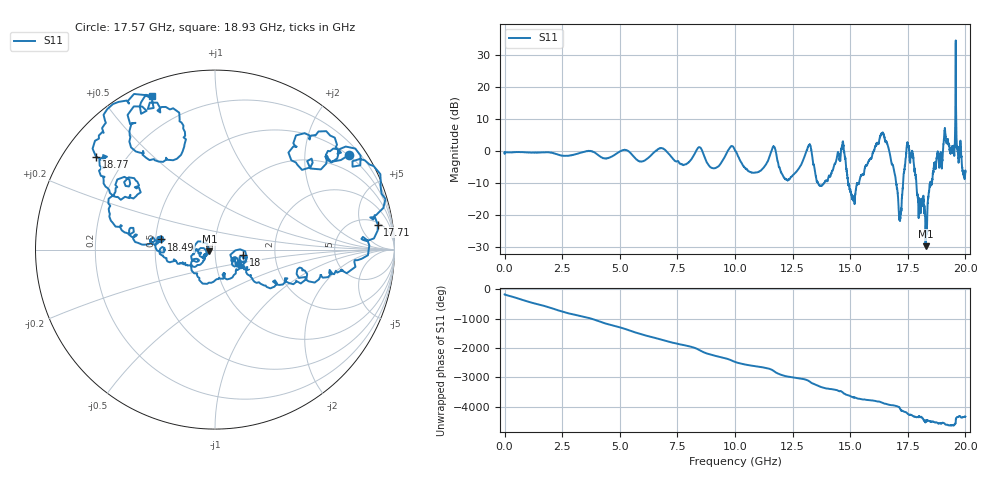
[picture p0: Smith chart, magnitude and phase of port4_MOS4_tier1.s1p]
! Created with skrf 1.8.0 (http://scikit-rf.org).
# GHz S RI R 50.0
!freq ReS11 ImS11
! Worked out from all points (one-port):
!   10001 points, 1 MHz to 20 GHz, reference 50 ohm
!   lowest |S11| = -29.7 dB at 18.27 GHz (marker M1), VSWR 1.07, Z = 47 - j0.972 ohm
!   |S11| at or under -10 dB: 14.92 GHz to 15.31 GHz (398 MHz wide, 2.63 % of centre); 17 GHz to 17.29 GHz (296.5 MHz wide, 1.73 % of centre); 17.87 GHz to 18.47 GHz (603 MHz wide, 3.32 % of centre) (the widest 3 of 15)
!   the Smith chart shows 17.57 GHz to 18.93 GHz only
!   S11 on the Smith chart (normalised r, x): 17.57 GHz: 0.49, +3.08; 17.71 GHz: 6, +10; 18 GHz: 1.37, -0.09; 18.49 GHz: 0.54, +0.07; 18.77 GHz: 0.10, +0.34; 18.93 GHz: 0.06, +0.67
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0.001  -0.9369 -0.0153
0.7349633  0.9533 0.1507
1.578921  -0.9514 -0.0426
2.016899  0.0967 0.9432
2.500875  0.6345 -0.5618
5.00075  -0.7984 0.5794
5.502725  0.8656 0.2511
6.39468  -0.8776 0.1278
7.500625  0.4239 -0.5489
8.446578  -0.0904 1.149
9.626519  -0.8656 0.2832
10.0005  0.69 0.7616
12.50038  -0.2048 -0.3628
13.23634  -0.2194 1.236
15.00025  0.2036 -0.1408
16.39418  -0.235 1.9
16.98615  0.3263 -0.0781
17.50013  0.2901 1.182
17.56812  0.7458 0.5269
17.71411  0.9072 0.1389
18.0001  0.1564 -0.0319
18.27409  -0.0313 -0.0103
18.49408  -0.3 0.0566
18.77206  -0.6634 0.5186
18.93005  -0.3517 0.8564
19.48003  0.7097 0.803
19.68202  0.6938 -0.4321
20  0.4628 -0.1332
